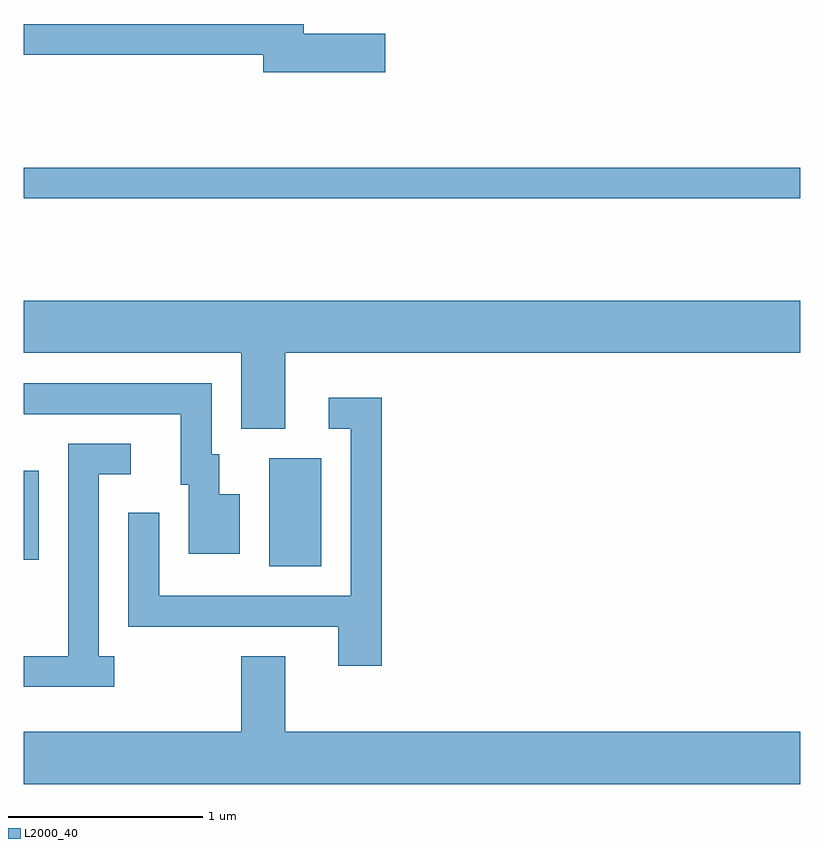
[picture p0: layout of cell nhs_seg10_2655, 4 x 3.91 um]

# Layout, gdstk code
import gdstk
lib = gdstk.Library(unit=1e-6, precision=1e-09)
def R(c, l, rs):  # rectangles x0, y0, x1, y1
    for r in rs: c.add(gdstk.rectangle(r[:2], r[2:], *l))
def P(c, l, *ps):  # polygons
    for p in ps: c.add(gdstk.Polygon(p, *l))
L2000_40 = (2000, 40)

nhs_seg10_2655 = lib.new_cell('nhs_seg10_2655')
R(nhs_seg10_2655, L2000_40, [(264.876,2101.716,265.144,2102.274), (263.611,2101.751,263.689,2102.209), (263.611,2103.611,267.611,2103.769)])
P(nhs_seg10_2655, L2000_40, [(265.474,2104.459),(265.054,2104.459),(265.054,2104.509),(263.611,2104.509),(263.611,2104.351),(264.846,2104.351),(264.846,2104.261),(265.474,2104.261)],
  [(264.959,2102.816),(267.611,2102.816),(267.611,2103.084),(263.611,2103.084),(263.611,2102.816),(264.731,2102.816),(264.731,2102.426),(264.959,2102.426)],
  [(264.724,2102.089),(264.619,2102.089),(264.619,2102.294),(264.579,2102.294),(264.579,2102.659),(263.611,2102.659),(263.611,2102.501),(264.421,2102.501),(264.421,2102.136),(264.461,2102.136),(264.461,2101.781),(264.724,2101.781)],
  [(265.454,2102.584),(265.183,2102.584),(265.183,2102.426),(265.296,2102.426),(265.296,2101.564),(264.309,2101.564),(264.309,2101.993),(264.151,2101.993),(264.151,2101.406),(265.231,2101.406),(265.231,2101.206),(265.454,2101.206)],
  [(264.078,2101.254),(263.999,2101.254),(263.999,2102.191),(264.163,2102.191),(264.163,2102.349),(263.841,2102.349),(263.841,2101.254),(263.611,2101.254),(263.611,2101.096),(264.078,2101.096)],
  [(267.611,2100.864),(264.959,2100.864),(264.959,2101.254),(264.731,2101.254),(264.731,2100.864),(263.611,2100.864),(263.611,2100.596),(267.611,2100.596)])

lib.write_gds('nhs_seg10_2655.gds')
